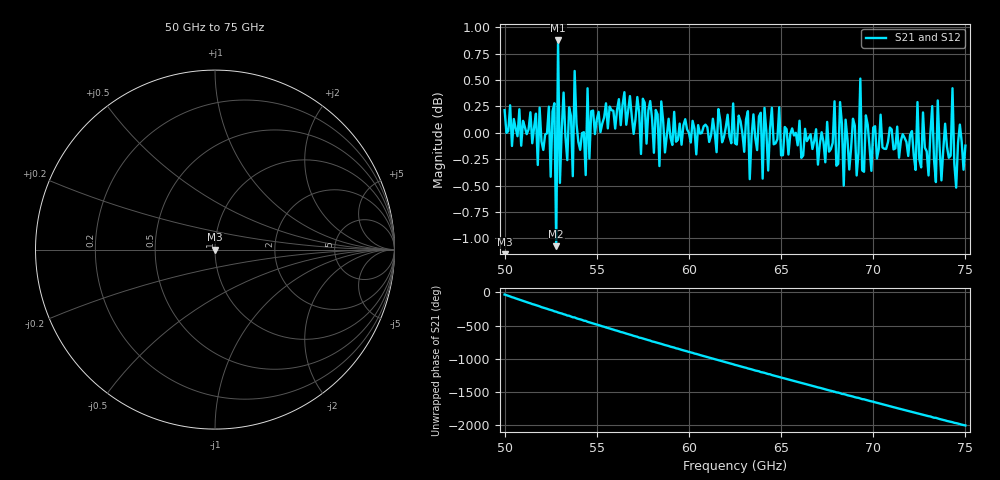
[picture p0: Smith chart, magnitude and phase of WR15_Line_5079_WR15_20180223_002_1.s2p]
# GHZ S RI R 50
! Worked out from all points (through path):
!   251 points, 50 GHz to 75 GHz, reference 50 ohm
!   highest |S21| = 0.88 dB at 52.9 GHz (marker M1); lowest = -1.1 dB at 52.8 GHz (marker M2)
!   lowest |S11| = - dB at 50 GHz (marker M3), VSWR 1.00, Z = 50 - j1.19e-15 ohm
!   |S11| at or under -10 dB: start of sweep to end of sweep
!   |S22| runs from - to - dB; largest |S21 - S12| = 1e-14
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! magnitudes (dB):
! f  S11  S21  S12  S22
! 50 GHz  -  0.2  0.2  -
! 51.8 GHz  -  -0.3  -0.3  -
! 52.4 GHz  -  0.2  0.2  -
! 52.5 GHz  -  -0.4  -0.4  -
! 52.7 GHz  -  0.3  0.3  -
! 52.8 GHz  -  -1.1  -1.1  -
! 52.9 GHz  -  0.9  0.9  -
! 53 GHz  -  -0.5  -0.5  -
! 53.2 GHz  -  0.4  0.4  -
! 53.7 GHz  -  -0.4  -0.4  -
! 53.8 GHz  -  0.6  0.6  -
! 54.2 GHz  -  0.0  0.0  -
! 57.9 GHz  -  0.3  0.3  -
! 58.4 GHz  -  -0.3  -0.3  -
! 58.5 GHz  -  0.3  0.3  -
! 62.5 GHz  -  -0.1  -0.1  -
! 66.7 GHz  -  -0.2  -0.2  -
! 69.1 GHz  -  -0.4  -0.4  -
! 69.3 GHz  -  0.5  0.5  -
! 69.4 GHz  -  -0.4  -0.4  -
! 70.9 GHz  -  0.1  0.1  -
! 75 GHz  -  -0.1  -0.1  -
